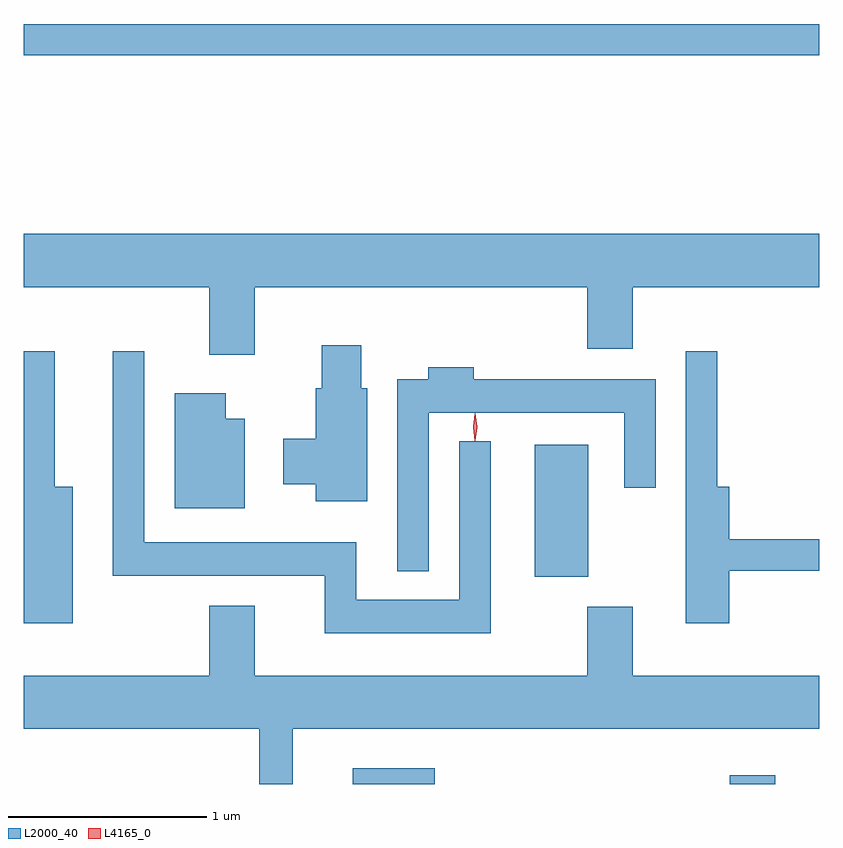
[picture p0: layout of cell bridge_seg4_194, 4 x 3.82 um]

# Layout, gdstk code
import gdstk
lib = gdstk.Library(unit=1e-6, precision=1e-09)
def R(c, l, rs):  # rectangles x0, y0, x1, y1
    for r in rs: c.add(gdstk.rectangle(r[:2], r[2:], *l))
def P(c, l, *ps):  # polygons
    for p in ps: c.add(gdstk.Polygon(p, *l))
L2000_40 = (2000, 40)
L4165_0 = (4165, 0)

bridge_seg4_194 = lib.new_cell('bridge_seg4_194')
R(bridge_seg4_194, L2000_40, [(1058.311,1305.559,1058.724,1305.639), (1060.206,1305.559,1060.434,1305.604), (1059.226,1306.601,1059.494,1307.264), (1056.657,1309.221,1060.657,1309.379)])
P(bridge_seg4_194, L2000_40, [(1057.819,1308.056),(1059.491,1308.056),(1059.491,1307.746),(1059.719,1307.746),(1059.719,1308.056),(1060.657,1308.056),(1060.657,1308.324),(1056.657,1308.324),(1056.657,1308.056),(1057.591,1308.056),(1057.591,1307.716),(1057.819,1307.716)],
  [(1058.384,1307.549),(1058.354,1307.549),(1058.354,1307.764),(1058.156,1307.764),(1058.156,1307.549),(1058.126,1307.549),(1058.126,1307.294),(1057.961,1307.294),(1057.961,1307.066),(1058.126,1307.066),(1058.126,1306.981),(1058.384,1306.981)],
  [(1056.904,1307.054),(1056.814,1307.054),(1056.814,1307.733),(1056.657,1307.733),(1056.657,1306.366),(1056.904,1306.366)],
  [(1060.204,1306.631),(1060.657,1306.631),(1060.657,1306.789),(1060.204,1306.789),(1060.204,1307.054),(1060.144,1307.054),(1060.144,1307.733),(1059.986,1307.733),(1059.986,1306.366),(1060.204,1306.366)],
  [(1059.004,1307.283),(1058.846,1307.283),(1058.846,1306.484),(1058.329,1306.484),(1058.329,1306.774),(1057.264,1306.774),(1057.264,1307.733),(1057.106,1307.733),(1057.106,1306.606),(1058.171,1306.606),(1058.171,1306.316),(1059.004,1306.316)],
  [(1058.694,1307.426),(1059.676,1307.426),(1059.676,1307.048),(1059.834,1307.048),(1059.834,1307.594),(1058.919,1307.594),(1058.919,1307.654),(1058.691,1307.654),(1058.691,1307.594),(1058.536,1307.594),(1058.536,1306.628),(1058.694,1306.628)],
  [(1057.769,1307.394),(1057.674,1307.394),(1057.674,1307.524),(1057.416,1307.524),(1057.416,1306.946),(1057.769,1306.946)],
  [(1058.009,1305.836),(1060.657,1305.836),(1060.657,1306.104),(1059.719,1306.104),(1059.719,1306.449),(1059.491,1306.449),(1059.491,1306.104),(1057.819,1306.104),(1057.819,1306.454),(1057.591,1306.454),(1057.591,1306.104),(1056.657,1306.104),(1056.657,1305.836),(1057.841,1305.836),(1057.841,1305.559),(1058.009,1305.559)])
P(bridge_seg4_194, L4165_0, [(1058.925,1307.284),(1058.916,1307.353),(1058.926,1307.422),(1058.926,1307.423),(1058.927,1307.422),(1058.936,1307.353),(1058.926,1307.284),(1058.926,1307.284)],
  [(1058.926,1307.287),(1058.925,1307.288),(1058.916,1307.354),(1058.925,1307.42),(1058.926,1307.421),(1058.926,1307.42),(1058.936,1307.354),(1058.926,1307.288)])

lib.write_gds('bridge_seg4_194.gds')
